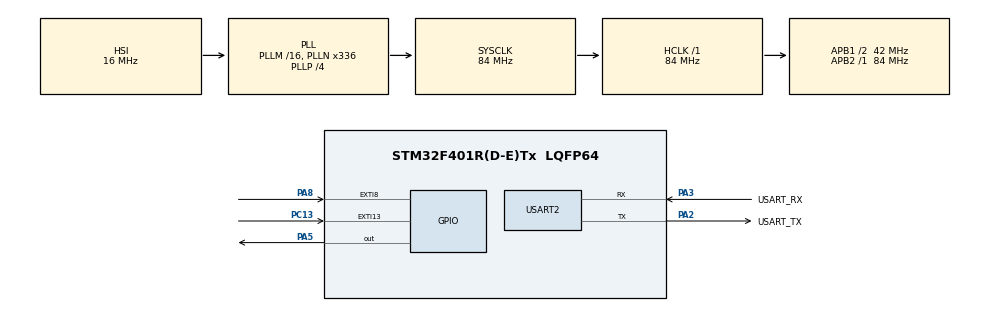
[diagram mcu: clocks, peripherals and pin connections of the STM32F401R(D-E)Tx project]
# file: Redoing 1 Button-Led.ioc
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Mcu.Family=STM32F4
Mcu.Name=STM32F401R(D-E)Tx
Mcu.Package=LQFP64
NVIC.EXTI15_10_IRQn=true\:0\:0\:true\:false\:true\:true\:true\:true
NVIC.EXTI9_5_IRQn=true\:0\:0\:false\:false\:true\:true\:true\:true
NVIC.PriorityGroup=NVIC_PRIORITYGROUP_1
NVIC.TIM2_IRQn=true\:0\:0\:false\:false\:true\:true\:true\:true
PA13.GPIO_Label=TMS
PA13.Mode=Serial_Wire
PA13.Signal=SYS_JTMS-SWDIO
PA14.GPIO_Label=TCK
PA14.Mode=Serial_Wire
PA14.Signal=SYS_JTCK-SWCLK
PA2.GPIO_Label=USART_TX
PA2.GPIO_Mode=GPIO_MODE_AF_PP
PA2.GPIO_PuPd=GPIO_NOPULL
PA2.GPIO_Speed=GPIO_SPEED_FREQ_LOW
PA2.Mode=Asynchronous
PA2.Signal=USART2_TX
PA3.GPIO_Label=USART_RX
PA3.GPIO_Mode=GPIO_MODE_AF_PP
PA3.GPIO_PuPd=GPIO_NOPULL
PA3.GPIO_Speed=GPIO_SPEED_FREQ_LOW
PA3.Mode=Asynchronous
PA3.Signal=USART2_RX
PA5.Signal=GPIO_Output
PA8.Signal=GPXTI8
PB3.GPIO_Label=SWO
PB3.Signal=SYS_JTDO-SWO
PC13-ANTI_TAMP.GPIO_ModeDefaultEXTI=GPIO_MODE_IT_RISING_FALLING
PC13-ANTI_TAMP.Signal=GPXTI13
PC14-OSC32_IN.Mode=LSE-External-Oscillator
PC14-OSC32_IN.Signal=RCC_OSC32_IN
PC15-OSC32_OUT.Mode=LSE-External-Oscillator
PC15-OSC32_OUT.Signal=RCC_OSC32_OUT
PH0\ -\ OSC_IN.Mode=HSE-External-Clock-Source
PH0\ -\ OSC_IN.Signal=RCC_OSC_IN
PH1\ -\ OSC_OUT.Mode=HSE-External-Clock-Source
PH1\ -\ OSC_OUT.Signal=RCC_OSC_OUT
ProjectManager.HeapSize=0x200
ProjectManager.StackSize=0x400
ProjectManager.TargetToolchain=STM32CubeIDE
RCC.48MHZClocksFreq_Value=48000000
RCC.AHBFreq_Value=84000000
RCC.APB1CLKDivider=RCC_HCLK_DIV2
RCC.APB1Freq_Value=42000000
RCC.APB1TimFreq_Value=84000000
RCC.APB2Freq_Value=84000000
RCC.APB2TimFreq_Value=84000000
RCC.CortexFreq_Value=84000000
RCC.HCLKFreq_Value=84000000
RCC.HSE_VALUE=8000000
RCC.HSI_VALUE=16000000
RCC.PLLN=336
RCC.PLLP=RCC_PLLP_DIV4
RCC.PLLQ=7
RCC.SYSCLKFreq_VALUE=84000000
RCC.SYSCLKSource=RCC_SYSCLKSOURCE_PLLCLK
RCC.VCOOutputFreq_Value=336000000
TIM2.Period=2000-1
TIM2.Prescaler=8400-1
USART2.VirtualMode=VM_ASYNC
VP_TIM2_VS_ClockSourceINT.Mode=Internal
board=NUCLEO-F401RE

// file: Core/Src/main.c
/* USER CODE BEGIN Header */
/**
  ******************************************************************************
  * @file           : main.c
  * @brief          : Main program body
  ******************************************************************************
  * @attention
  *
  * Copyright (c) 2024 STMicroelectronics.
  * All rights reserved.
  *
  * This software is licensed under terms that can be found in the LICENSE file
  * in the root directory of this software component.
  * If no LICENSE file comes with this software, it is provided AS-IS.
  *
  ******************************************************************************
  */
/* USER CODE END Header */
#include "main.h"

/* USER CODE BEGIN PD */
#define BUTTON GPIOC,GPIO_PIN_13
#define LED    GPIOA,GPIO_PIN_5
#define MIC    GPIOA,GPIO_PIN_8
/* USER CODE END PD */

TIM_HandleTypeDef htim2;

UART_HandleTypeDef huart2;

void SystemClock_Config(void);
static void MX_GPIO_Init(void);
static void MX_USART2_UART_Init(void);
static void MX_TIM2_Init(void);

/* USER CODE BEGIN 0 */
void HAL_GPIO_EXTI_Callback(uint16_t GPIO_Pin){
	if(GPIO_Pin == GPIO_PIN_13){
		GPIO_PinState read = !HAL_GPIO_ReadPin(BUTTON);
		if(read){
			HAL_TIM_Base_Start_IT(&htim2);
		}else{
			HAL_TIM_Base_Stop_IT(&htim2);
		}

	}else if(GPIO_Pin == GPIO_PIN_8){
		static uint32_t prev = 0;
		if(HAL_GetTick() - prev > 10){
			HAL_GPIO_TogglePin(LED);
			prev = HAL_GetTick();
		}

	}
}

void HAL_TIM_PeriodElapsedCallback(TIM_HandleTypeDef *htim){
	HAL_GPIO_TogglePin(LED);
}
/* USER CODE END 0 */

int main(void)
{

  /* MCU Configuration--------------------------------------------------------*/

  /* Reset of all peripherals, Initializes the Flash interface and the Systick. */
  HAL_Init();

  /* Configure the system clock */
  SystemClock_Config();

  /* Initialize all configured peripherals */
  MX_GPIO_Init();
  MX_USART2_UART_Init();
  MX_TIM2_Init();

  /* Infinite loop */
  while (1)
  {

  }
}

void SystemClock_Config(void)
{
  RCC_OscInitTypeDef RCC_OscInitStruct = {0};
  RCC_ClkInitTypeDef RCC_ClkInitStruct = {0};

  /** Configure the main internal regulator output voltage
  */
  __HAL_RCC_PWR_CLK_ENABLE();
  __HAL_PWR_VOLTAGESCALING_CONFIG(PWR_REGULATOR_VOLTAGE_SCALE2);

  /** Initializes the RCC Oscillators according to the specified parameters
  * in the RCC_OscInitTypeDef structure.
  */
  RCC_OscInitStruct.OscillatorType = RCC_OSCILLATORTYPE_HSI;
  RCC_OscInitStruct.HSIState = RCC_HSI_ON;
  RCC_OscInitStruct.HSICalibrationValue = RCC_HSICALIBRATION_DEFAULT;
  RCC_OscInitStruct.PLL.PLLState = RCC_PLL_ON;
  RCC_OscInitStruct.PLL.PLLSource = RCC_PLLSOURCE_HSI;
  RCC_OscInitStruct.PLL.PLLM = 16;
  RCC_OscInitStruct.PLL.PLLN = 336;
  RCC_OscInitStruct.PLL.PLLP = RCC_PLLP_DIV4;
  RCC_OscInitStruct.PLL.PLLQ = 7;
  if (HAL_RCC_OscConfig(&RCC_OscInitStruct) != HAL_OK)
  {
    Error_Handler();
  }

  /** Initializes the CPU, AHB and APB buses clocks
  */
  RCC_ClkInitStruct.ClockType = RCC_CLOCKTYPE_HCLK|RCC_CLOCKTYPE_SYSCLK
                              |RCC_CLOCKTYPE_PCLK1|RCC_CLOCKTYPE_PCLK2;
  RCC_ClkInitStruct.SYSCLKSource = RCC_SYSCLKSOURCE_PLLCLK;
  RCC_ClkInitStruct.AHBCLKDivider = RCC_SYSCLK_DIV1;
  RCC_ClkInitStruct.APB1CLKDivider = RCC_HCLK_DIV2;
  RCC_ClkInitStruct.APB2CLKDivider = RCC_HCLK_DIV1;

  if (HAL_RCC_ClockConfig(&RCC_ClkInitStruct, FLASH_LATENCY_2) != HAL_OK)
  {
    Error_Handler();
  }
}

static void MX_TIM2_Init(void)
{

  TIM_ClockConfigTypeDef sClockSourceConfig = {0};
  TIM_MasterConfigTypeDef sMasterConfig = {0};

  htim2.Instance = TIM2;
  htim2.Init.Prescaler = 8400-1;
  htim2.Init.CounterMode = TIM_COUNTERMODE_UP;
  htim2.Init.Period = 2000-1;
  htim2.Init.ClockDivision = TIM_CLOCKDIVISION_DIV1;
  htim2.Init.AutoReloadPreload = TIM_AUTORELOAD_PRELOAD_DISABLE;
  if (HAL_TIM_Base_Init(&htim2) != HAL_OK)
  {
    Error_Handler();
  }
  sClockSourceConfig.ClockSource = TIM_CLOCKSOURCE_INTERNAL;
  if (HAL_TIM_ConfigClockSource(&htim2, &sClockSourceConfig) != HAL_OK)
  {
    Error_Handler();
  }
  sMasterConfig.MasterOutputTrigger = TIM_TRGO_RESET;
  sMasterConfig.MasterSlaveMode = TIM_MASTERSLAVEMODE_DISABLE;
  if (HAL_TIMEx_MasterConfigSynchronization(&htim2, &sMasterConfig) != HAL_OK)
  {
    Error_Handler();
  }

}

static void MX_USART2_UART_Init(void)
{

  huart2.Instance = USART2;
  huart2.Init.BaudRate = 115200;
  huart2.Init.WordLength = UART_WORDLENGTH_8B;
  huart2.Init.StopBits = UART_STOPBITS_1;
  huart2.Init.Parity = UART_PARITY_NONE;
  huart2.Init.Mode = UART_MODE_TX_RX;
  huart2.Init.HwFlowCtl = UART_HWCONTROL_NONE;
  huart2.Init.OverSampling = UART_OVERSAMPLING_16;
  if (HAL_UART_Init(&huart2) != HAL_OK)
  {
    Error_Handler();
  }

}

static void MX_GPIO_Init(void)
{
  GPIO_InitTypeDef GPIO_InitStruct = {0};

  /* GPIO Ports Clock Enable */
  __HAL_RCC_GPIOC_CLK_ENABLE();
  __HAL_RCC_GPIOH_CLK_ENABLE();
  __HAL_RCC_GPIOA_CLK_ENABLE();
  __HAL_RCC_GPIOB_CLK_ENABLE();

  /*Configure GPIO pin Output Level */
  HAL_GPIO_WritePin(GPIOA, GPIO_PIN_5, GPIO_PIN_RESET);

  /*Configure GPIO pin : PC13 */
  GPIO_InitStruct.Pin = GPIO_PIN_13;
  GPIO_InitStruct.Mode = GPIO_MODE_IT_RISING_FALLING;
  GPIO_InitStruct.Pull = GPIO_NOPULL;
  HAL_GPIO_Init(GPIOC, &GPIO_InitStruct);

  /*Configure GPIO pin : PA5 */
  GPIO_InitStruct.Pin = GPIO_PIN_5;
  GPIO_InitStruct.Mode = GPIO_MODE_OUTPUT_PP;
  GPIO_InitStruct.Pull = GPIO_NOPULL;
  GPIO_InitStruct.Speed = GPIO_SPEED_FREQ_LOW;
  HAL_GPIO_Init(GPIOA, &GPIO_InitStruct);

  /*Configure GPIO pin : PA8 */
  GPIO_InitStruct.Pin = GPIO_PIN_8;
  GPIO_InitStruct.Mode = GPIO_MODE_IT_RISING;
  GPIO_InitStruct.Pull = GPIO_NOPULL;
  HAL_GPIO_Init(GPIOA, &GPIO_InitStruct);

  /* EXTI interrupt init*/
  HAL_NVIC_SetPriority(EXTI9_5_IRQn, 0, 0);
  HAL_NVIC_EnableIRQ(EXTI9_5_IRQn);

  HAL_NVIC_SetPriority(EXTI15_10_IRQn, 0, 0);
  HAL_NVIC_EnableIRQ(EXTI15_10_IRQn);

}

void Error_Handler(void)
{
  __disable_irq();
  while (1)
  {
  }
}
